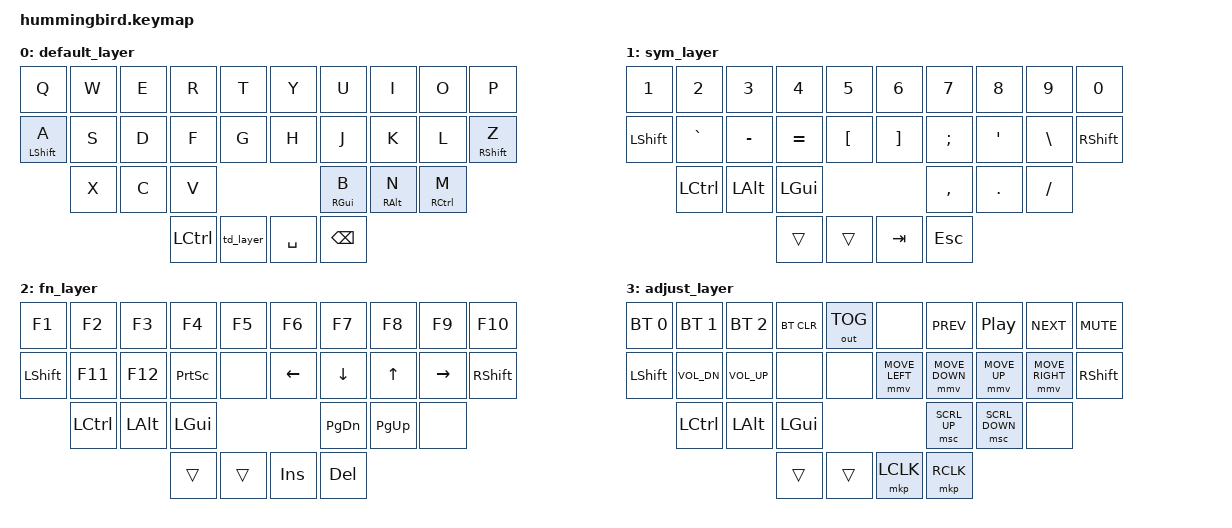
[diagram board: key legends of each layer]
/*
 * Copyright (c) 2022 The ZMK Contributors
 *
 * SPDX-License-Identifier: MIT
 */

#include <behaviors.dtsi>
#include <dt-bindings/zmk/bt.h>
#include <dt-bindings/zmk/keys.h>
#include <dt-bindings/zmk/outputs.h>
#include <dt-bindings/zmk/pointing.h>

// Using layer taps on thumbs, having quick tap as well helps w/ repeating space/backspace

&lt {
    quick-tap-ms = <200>;
    flavor = "hold-preferred";
};

&mt {
    quick-tap-ms = <200>;
    flavor = "balanced";
};

/ {
    combos {
        compatible = "zmk,combos";

        enter {
            bindings = <&none>;
            key-positions = <24 23>;
        };
    };

    behaviors {
        td_layer: td_layer {
            compatible = "zmk,behavior-tap-dance";
            label = "TD_LAYER";
            #binding-cells = <0>;
            bindings = <&mo 1>, <&mo 2>, <&mo 3>;
        };
    };

    keymap {
        compatible = "zmk,keymap";

        default_layer {
            bindings = <
&kp Q        &kp W  &kp E  &kp R      &kp T        &kp Y      &kp U       &kp I       &kp O        &kp P
&mt LSHFT A  &kp S  &kp D  &kp F      &kp G        &kp H      &kp J       &kp K       &kp L        &mt RSHFT Z
             &kp X  &kp C  &kp V                              &mt RGUI B  &mt RALT N  &mt RCTRL M
                           &kp LCTRL  &td_layer    &kp SPACE  &kp BSPC
            >;
        };

        sym_layer {
            bindings = <
&kp N1     &kp N2     &kp N3     &kp N4     &kp N5      &kp N6    &kp N7     &kp N8    &kp N9    &kp N0
&kp LSHFT  &kp GRAVE  &kp MINUS  &kp EQUAL  &kp LBKT    &kp RBKT  &kp SEMI   &kp APOS  &kp BSLH  &kp RSHFT
           &kp LCTRL  &kp LALT   &kp LGUI                         &kp COMMA  &kp DOT   &kp FSLH
                                 &trans     &trans      &kp TAB   &kp ESC
            >;
        };

        fn_layer {
            bindings = <
&kp F1      &kp F2     &kp F3    &kp F4           &kp F5    &kp F6    &kp F7     &kp F8     &kp F9     &kp F10
&kp LSHIFT  &kp F11    &kp F12   &kp PRINTSCREEN  &none     &kp LEFT  &kp DOWN   &kp UP     &kp RIGHT  &kp RSHFT
            &kp LCTRL  &kp LALT  &kp LGUI                             &kp PG_DN  &kp PG_UP  &none
                                 &trans           &trans    &kp INS   &kp DEL
            >;
        };

        adjust_layer {
            bindings = <
&bt BT_SEL 0  &bt BT_SEL 1  &bt BT_SEL 2  &bt BT_CLR  &out OUT_TOG    &none           &kp C_PREV      &kp C_PP        &kp C_NEXT       &kp C_MUTE
&kp LSHIFT    &kp C_VOL_DN  &kp C_VOL_UP  &none       &none           &mmv MOVE_LEFT  &mmv MOVE_DOWN  &mmv MOVE_UP    &mmv MOVE_RIGHT  &kp RSHFT
              &kp LCTRL     &kp LALT      &kp LGUI                                    &msc SCRL_UP    &msc SCRL_DOWN  &none
                                          &trans      &trans          &mkp LCLK       &mkp RCLK
            >;
        };
    };
};
